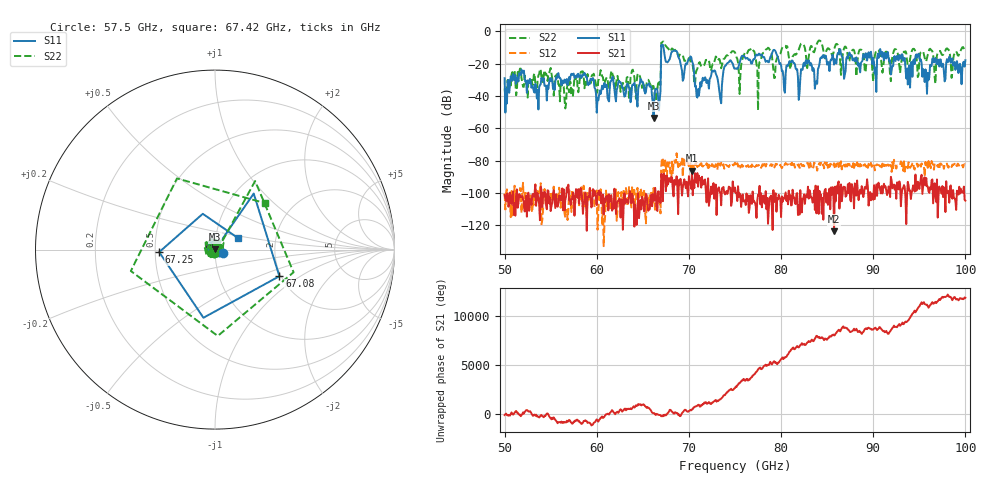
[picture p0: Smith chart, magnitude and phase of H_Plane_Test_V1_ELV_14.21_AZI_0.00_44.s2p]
! 11/27/2026 8:30:53 AM
! C:\ANRITSUVNA\TEMP\TEMP.S2P
! CHANNEL.1
! TR.MEASUREMENT
! RAW.DATA
# HZ S RI R 50.0
! FREQ.HZ  S11RE  S11IM  S21RE  S21IM  S12RE  S12IM  S22RE  S22IM
!; PortSelection: Port_12
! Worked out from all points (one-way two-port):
!   601 points, 50 GHz to 100 GHz, reference 50 ohm
!   highest |S21| = -86.32 dB at 70.33 GHz (marker M1); lowest = -123.9 dB at 85.75 GHz (marker M2)
!   lowest |S11| = -53.6 dB at 66.17 GHz (marker M3), VSWR 1.00, Z = 50.1 + j0.158 ohm
!   |S11| at or under -10 dB: start of sweep to 67 GHz; 67.24 GHz to end of sweep
!   |S22| runs from -48.9 to -5.6 dB; largest |S21 - S12| = 0.00014
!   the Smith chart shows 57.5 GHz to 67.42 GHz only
!   S11 on the Smith chart (normalised r, x): 57.5 GHz: 1.09, -0.05; 67.08 GHz: 1.96, -0.68; 67.25 GHz: 0.53, -0.02; 67.42 GHz: 1.29, +0.17
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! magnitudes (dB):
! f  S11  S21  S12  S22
! 50 GHz  -29.0  -101.4  -100.5  -35.4
! 57.5 GHz  -26.1  -102.6  -104.3  -34.5
! 58.42 GHz  -27.1  -103.2  -106.9  -24.8
! 60.17 GHz  -42.7  -100.8  -112.5  -30.1
! 66.17 GHz  -53.6  -104.6  -97.0  -34.0
! 66.67 GHz  -41.8  -99.0  -99.8  -31.6
! 67.08 GHz  -8.2  -91.1  -78.3  -6.8
! 67.25 GHz  -10.1  -88.0  -87.6  -6.3
! 67.42 GHz  -16.8  -89.4  -80.0  -8.4
! 70.33 GHz  -18.4  -86.3  -85.3  -19.1
! 70.92 GHz  -41.0  -87.8  -84.1  -23.1
! 75 GHz  -23.1  -96.7  -81.4  -13.0
! 77.58 GHz  -13.8  -101.5  -82.8  -21.7
! 78.5 GHz  -18.2  -103.1  -83.2  -10.8
! 79.33 GHz  -11.7  -101.8  -83.7  -28.8
! 80.25 GHz  -27.8  -103.2  -82.6  -9.4
! 83.42 GHz  -24.5  -106.0  -83.8  -10.8
! 85.75 GHz  -20.6  -123.9  -81.7  -11.5
! 91.67 GHz  -16.6  -96.0  -83.3  -15.3
! 94.83 GHz  -14.9  -93.1  -83.8  -28.3
! 95.83 GHz  -38.7  -96.0  -81.1  -16.4
! 100 GHz  -17.9  -104.8  -84.1  -12.5
